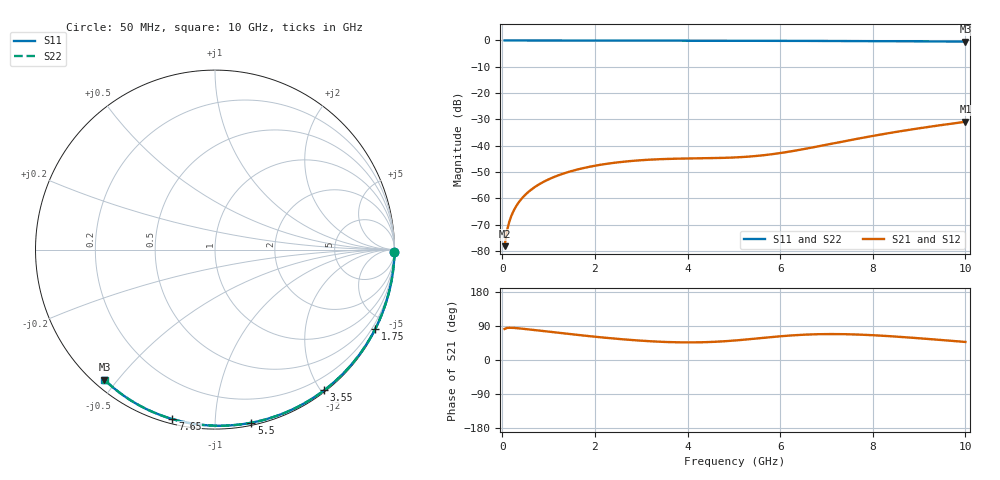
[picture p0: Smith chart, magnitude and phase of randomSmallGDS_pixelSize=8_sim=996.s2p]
! freq	dB(S11)	phase(S11)	dB(S12)	phase(S12)
!  dB(S21)	phase(S21)	dB(S22)	phase(S22)
!S-par simulation data
#  GHz  S  DB  R 50
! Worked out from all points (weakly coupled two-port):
!   200 points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, 50 MHz to 10 GHz, reference 50 ohm
!   highest |S21| = -30.93 dB at 10 GHz (marker M1); lowest = -78.2 dB at 50 MHz (marker M2)
!   lowest |S11| = -0.4 dB at 10 GHz (marker M3), VSWR 40.18, Z = 1.51 - j23.1 ohm
!   |S11| at or under -10 dB: nowhere
!   |S22| runs from -0.4 to 0.0 dB; largest |S21 - S12| = 0
!   S11 on the Smith chart (normalised r, x): 50 MHz: open; 1.75 GHz: 0.04, -4.27; 3.55 GHz: 0.02, -2.04; 5.5 GHz: 0.02, -1.23; 7.65 GHz: 0.02, -0.78; 10 GHz: 0.03, -0.46
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0.05  -0.00 -0.8  -78.19 81.9  -78.19 81.9  -0.00 -0.8
0.1  -0.00 -1.5  -72.42 84.6  -72.42 84.6  -0.00 -1.5
0.15  -0.00 -2.3  -68.96 85.1  -68.96 85.1  -0.00 -2.3
0.2  -0.00 -3.1  -66.48 85.0  -66.48 85.0  -0.00 -3.1
0.25  -0.00 -3.8  -64.56 84.7  -64.56 84.7  -0.00 -3.8
0.35  -0.00 -5.4  -61.66 83.6  -61.66 83.6  -0.00 -5.4
0.5  -0.01 -7.6  -58.60 81.7  -58.60 81.7  -0.01 -7.6
0.7  -0.01 -10.7  -55.74 79.0  -55.74 79.0  -0.01 -10.7
1  -0.02 -15.2  -52.79 74.8  -52.79 74.8  -0.02 -15.2
1.35  -0.03 -20.4  -50.41 69.9  -50.41 69.9  -0.03 -20.4
1.75  -0.03 -26.4  -48.51 64.6  -48.51 64.6  -0.03 -26.4
2.5  -0.05 -37.3  -46.32 55.6  -46.32 55.6  -0.05 -37.3
3.4  -0.07 -50.1  -45.13 48.2  -45.13 48.2  -0.07 -50.1
3.55  -0.07 -52.2  -45.04 47.5  -45.04 47.5  -0.07 -52.2
4.3  -0.09 -62.4  -44.78 46.8  -44.78 46.8  -0.09 -62.4
5.05  -0.11 -72.3  -44.44 51.8  -44.44 51.8  -0.11 -72.3
5.5  -0.13 -78.1  -43.88 56.8  -43.88 56.8  -0.13 -78.1
6.05  -0.15 -85.0  -42.67 63.0  -42.67 63.0  -0.15 -85.0
6.7  -0.18 -92.9  -40.66 67.7  -40.66 67.7  -0.18 -92.9
7.65  -0.23 -104.1  -37.42 67.3  -37.42 67.3  -0.23 -104.1
8.35  -0.28 -112.1  -35.22 63.0  -35.22 63.0  -0.28 -112.1
10  -0.43 -130.3  -30.93 47.6  -30.93 47.6  -0.43 -130.3
